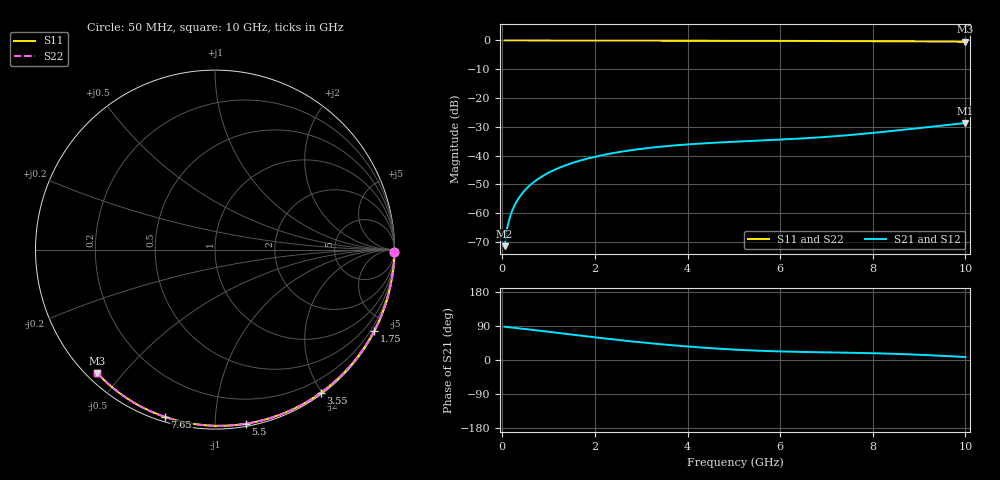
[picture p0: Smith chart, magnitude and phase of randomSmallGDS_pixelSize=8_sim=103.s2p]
! freq	dB(S11)	phase(S11)	dB(S12)	phase(S12)
!  dB(S21)	phase(S21)	dB(S22)	phase(S22)
!S-par simulation data
#  GHz  S  DB  R 50
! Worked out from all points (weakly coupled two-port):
!   200 points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, 50 MHz to 10 GHz, reference 50 ohm
!   highest |S21| = -28.67 dB at 10 GHz (marker M1); lowest = -71.4 dB at 50 MHz (marker M2)
!   lowest |S11| = -0.4 dB at 10 GHz (marker M3), VSWR 39.25, Z = 1.51 - j21.4 ohm
!   |S11| at or under -10 dB: nowhere
!   |S22| runs from -0.4 to 0.0 dB; largest |S21 - S12| = 0
!   S11 on the Smith chart (normalised r, x): 50 MHz: open; 1.75 GHz: 0.04, -4.16; 3.55 GHz: 0.02, -1.99; 5.5 GHz: 0.02, -1.19; 7.65 GHz: 0.02, -0.74; 10 GHz: 0.03, -0.43
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0.05  -0.00 -0.8  -71.43 88.0  -71.43 88.0  -0.00 -0.8
0.1  -0.00 -1.6  -65.55 87.0  -65.55 87.0  -0.00 -1.6
0.15  -0.00 -2.4  -62.11 86.3  -62.11 86.3  -0.00 -2.4
0.2  -0.00 -3.1  -59.66 85.7  -59.66 85.7  -0.00 -3.1
0.25  -0.00 -3.9  -57.75 85.1  -57.75 85.1  -0.00 -3.9
0.35  -0.00 -5.5  -54.87 83.8  -54.87 83.8  -0.00 -5.5
0.5  -0.01 -7.8  -51.80 81.7  -51.80 81.7  -0.01 -7.8
0.7  -0.01 -10.9  -48.93 78.8  -48.93 78.8  -0.01 -10.9
1  -0.02 -15.6  -45.92 74.3  -45.92 74.3  -0.02 -15.6
1.35  -0.03 -20.9  -43.45 69.1  -43.45 69.1  -0.03 -20.9
1.75  -0.03 -27.0  -41.40 63.3  -41.40 63.3  -0.03 -27.0
2.5  -0.05 -38.2  -38.80 52.9  -38.80 52.9  -0.05 -38.2
3.4  -0.07 -51.3  -36.91 41.9  -36.91 41.9  -0.07 -51.3
3.55  -0.07 -53.5  -36.68 40.2  -36.68 40.2  -0.07 -53.5
4.3  -0.09 -63.9  -35.78 32.9  -35.78 32.9  -0.09 -64.0
5.05  -0.11 -74.1  -35.14 27.2  -35.14 27.2  -0.11 -74.1
5.5  -0.13 -80.0  -34.81 24.7  -34.81 24.7  -0.13 -80.0
6.7  -0.18 -95.2  -33.80 20.8  -33.80 20.8  -0.18 -95.2
7.65  -0.24 -106.6  -32.63 18.8  -32.63 18.8  -0.24 -106.7
8.35  -0.29 -114.8  -31.54 16.7  -31.54 16.7  -0.29 -114.9
9.15  -0.36 -124.0  -30.16 13.0  -30.16 13.0  -0.36 -124.1
10  -0.44 -133.6  -28.67 7.8  -28.67 7.8  -0.44 -133.7
